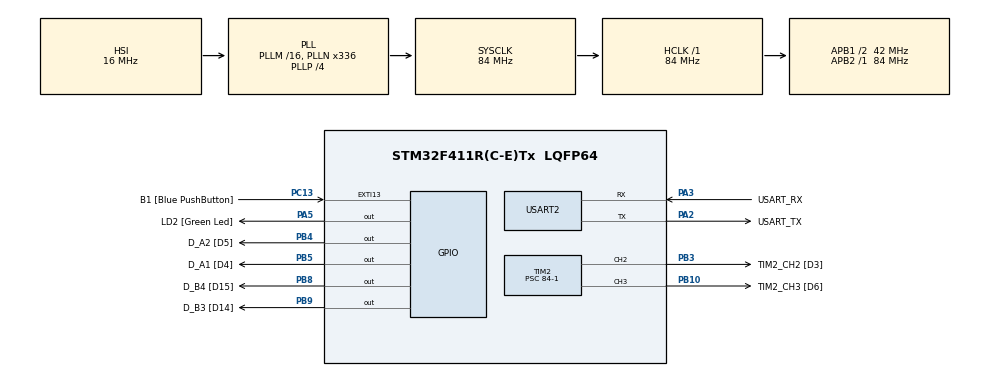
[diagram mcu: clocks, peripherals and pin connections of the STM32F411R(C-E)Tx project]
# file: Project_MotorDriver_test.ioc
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Mcu.Family=STM32F4
Mcu.Name=STM32F411R(C-E)Tx
Mcu.Package=LQFP64
NVIC.EXTI15_10_IRQn=true\:0\:0\:false\:false\:true\:true\:true\:true
NVIC.PriorityGroup=NVIC_PRIORITYGROUP_0
PA13.GPIO_Label=TMS
PA13.Mode=Serial_Wire
PA13.Signal=SYS_JTMS-SWDIO
PA14.GPIO_Label=TCK
PA14.Mode=Serial_Wire
PA14.Signal=SYS_JTCK-SWCLK
PA2.GPIO_Label=USART_TX
PA2.Mode=Asynchronous
PA2.Signal=USART2_TX
PA3.GPIO_Label=USART_RX
PA3.Mode=Asynchronous
PA3.Signal=USART2_RX
PA5.GPIO_Label=LD2 [Green Led]
PA5.Signal=GPIO_Output
PB10.GPIO_Label=TIM2_CH3 [D6]
PB10.Signal=S_TIM2_CH3
PB3.GPIO_Label=TIM2_CH2 [D3]
PB3.Signal=S_TIM2_CH2
PB4.GPIO_Label=D_A2 [D5]
PB4.Signal=GPIO_Output
PB5.GPIO_Label=D_A1 [D4]
PB5.Signal=GPIO_Output
PB8.GPIO_Label=D_B4 [D15]
PB8.Signal=GPIO_Output
PB9.GPIO_Label=D_B3 [D14]
PB9.Signal=GPIO_Output
PC13-ANTI_TAMP.GPIO_Label=B1 [Blue PushButton]
PC13-ANTI_TAMP.GPIO_ModeDefaultEXTI=GPIO_MODE_IT_FALLING
PC13-ANTI_TAMP.Signal=GPXTI13
PC14-OSC32_IN.Mode=LSE-External-Oscillator
PC14-OSC32_IN.Signal=RCC_OSC32_IN
PC15-OSC32_OUT.Mode=LSE-External-Oscillator
PC15-OSC32_OUT.Signal=RCC_OSC32_OUT
PH0\ -\ OSC_IN.Mode=HSE-External-Clock-Source
PH0\ -\ OSC_IN.Signal=RCC_OSC_IN
PH1\ -\ OSC_OUT.Mode=HSE-External-Clock-Source
PH1\ -\ OSC_OUT.Signal=RCC_OSC_OUT
ProjectManager.HeapSize=0x200
ProjectManager.StackSize=0x400
ProjectManager.TargetToolchain=STM32CubeIDE
RCC.48MHZClocksFreq_Value=84000000
RCC.AHBFreq_Value=84000000
RCC.APB1CLKDivider=RCC_HCLK_DIV2
RCC.APB1Freq_Value=42000000
RCC.APB1TimFreq_Value=84000000
RCC.APB2Freq_Value=84000000
RCC.APB2TimFreq_Value=84000000
RCC.CortexFreq_Value=84000000
RCC.FLatency-AdvancedSettings=FLASH_LATENCY_2
RCC.HCLKFreq_Value=84000000
RCC.HSE_VALUE=8000000
RCC.HSI_VALUE=16000000
RCC.PLLN=336
RCC.PLLP=RCC_PLLP_DIV4
RCC.SYSCLKFreq_VALUE=84000000
RCC.SYSCLKSource=RCC_SYSCLKSOURCE_PLLCLK
RCC.VCOOutputFreq_Value=336000000
SH.S_TIM2_CH2.0=TIM2_CH2,PWM Generation2 CH2
SH.S_TIM2_CH3.0=TIM2_CH3,PWM Generation3 CH3
TIM2.Channel-PWM\ Generation2\ CH2=TIM_CHANNEL_2
TIM2.Channel-PWM\ Generation3\ CH3=TIM_CHANNEL_3
TIM2.Period=1000-1
TIM2.Prescaler=84-1
USART2.VirtualMode=VM_ASYNC
VP_TIM2_VS_ClockSourceINT.Mode=Internal
board=NUCLEO-F411RE

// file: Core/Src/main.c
/* USER CODE BEGIN Header */
/**
  ******************************************************************************
  * @file           : main.c
  * @brief          : Main program body
  ******************************************************************************
  * @attention
  *
  * Copyright (c) 2025 STMicroelectronics.
  * All rights reserved.
  *
  * This software is licensed under terms that can be found in the LICENSE file
  * in the root directory of this software component.
  * If no LICENSE file comes with this software, it is provided AS-IS.
  *
  ******************************************************************************
  */
/* USER CODE END Header */
#include "main.h"

/* USER CODE BEGIN Includes */
#include <stdio.h>
/* USER CODE END Includes */

TIM_HandleTypeDef htim2;

UART_HandleTypeDef huart2;

void SystemClock_Config(void);
static void MX_GPIO_Init(void);
static void MX_USART2_UART_Init(void);
static void MX_TIM2_Init(void);

/* USER CODE BEGIN 0 */
int mode = 0;
int ccrL = 0, ccrR = 0;
int dutyL = 10, dutyR = 10;
void HAL_GPIO_EXTI_Callback(uint16_t GPIO_Pin)
{
	mode++;
	if(mode > 3)
		mode = 0;
}
void forward()
{
	HAL_GPIO_WritePin(D_A1_GPIO_Port, D_A1_Pin, 1);
	HAL_GPIO_WritePin(D_A2_GPIO_Port, D_A2_Pin, 0);

	HAL_GPIO_WritePin(D_B3_GPIO_Port, D_B3_Pin, 0);
	HAL_GPIO_WritePin(D_B4_GPIO_Port, D_B4_Pin, 1);

	dutyL = 35;
	dutyR = 35;
	ccrL = htim2.Instance->ARR * dutyL / 100;
	ccrR = htim2.Instance->ARR * dutyR / 100;
	htim2.Instance->CCR3 = ccrL;
	htim2.Instance->CCR2 = ccrR;
}
void left()
{
	HAL_GPIO_WritePin(D_A1_GPIO_Port, D_A1_Pin, 1);
	HAL_GPIO_WritePin(D_A2_GPIO_Port, D_A2_Pin, 0);

	HAL_GPIO_WritePin(D_B3_GPIO_Port, D_B3_Pin, 0);
	HAL_GPIO_WritePin(D_B4_GPIO_Port, D_B4_Pin, 1);

	dutyL = 25;
	dutyR = 40;
	ccrL = htim2.Instance->ARR * dutyL / 100;
	ccrR = htim2.Instance->ARR * dutyR / 100;
	htim2.Instance->CCR3 = ccrL;
	htim2.Instance->CCR2 = ccrR;
}
void right()
{
	HAL_GPIO_WritePin(D_A1_GPIO_Port, D_A1_Pin, 1);
	HAL_GPIO_WritePin(D_A2_GPIO_Port, D_A2_Pin, 0);

	HAL_GPIO_WritePin(D_B3_GPIO_Port, D_B3_Pin, 0);
	HAL_GPIO_WritePin(D_B4_GPIO_Port, D_B4_Pin, 1);

	dutyL = 40;
	dutyR = 25;
	ccrL = htim2.Instance->ARR * dutyL / 100;
	ccrR = htim2.Instance->ARR * dutyR / 100;
	htim2.Instance->CCR3 = ccrL;
	htim2.Instance->CCR2 = ccrR;
}
void reverse()
{
	HAL_GPIO_WritePin(D_A1_GPIO_Port, D_A1_Pin, 0);
	HAL_GPIO_WritePin(D_A2_GPIO_Port, D_A2_Pin, 1);

	HAL_GPIO_WritePin(D_B3_GPIO_Port, D_B3_Pin, 1);
	HAL_GPIO_WritePin(D_B4_GPIO_Port, D_B4_Pin, 0);

	dutyL = 25;
	dutyR = 25;
	ccrL = htim2.Instance->ARR * dutyL / 100;
	ccrR = htim2.Instance->ARR * dutyR / 100;
	htim2.Instance->CCR3 = ccrL;
	htim2.Instance->CCR2 = ccrR;
}
/* USER CODE END 0 */

int main(void)
{

  /* MCU Configuration--------------------------------------------------------*/

  /* Reset of all peripherals, Initializes the Flash interface and the Systick. */
  HAL_Init();

  /* Configure the system clock */
  SystemClock_Config();

  /* Initialize all configured peripherals */
  MX_GPIO_Init();
  MX_USART2_UART_Init();
  MX_TIM2_Init();
  /* USER CODE BEGIN 2 */
  ProgramStart("DC Motor & Motor Driver Test");

  HAL_GPIO_WritePin(D_A1_GPIO_Port, D_A1_Pin, 1);
  HAL_GPIO_WritePin(D_A2_GPIO_Port, D_A2_Pin, 0);

  HAL_GPIO_WritePin(D_B3_GPIO_Port, D_B3_Pin, 0);
  HAL_GPIO_WritePin(D_B4_GPIO_Port, D_B4_Pin, 1);

  HAL_TIM_PWM_Start(&htim2, TIM_CHANNEL_2);
  HAL_TIM_PWM_Start(&htim2, TIM_CHANNEL_3);
  /* USER CODE END 2 */

  /* Infinite loop */
  /* USER CODE BEGIN WHILE */

  while (1)
  {

	  if(mode == 0)
		  forward();
	  else if(mode == 1)
		  left();
	  else if(mode == 2)
		  right();
	  else if(mode == 3)
		  reverse();

//	  ccr1 += op;
//	  if(ccr1 > htim2.Instance->ARR || ccr1 < 0)
//	  {
//		  op *= -1;
//		  printf("Motor Direction changed  %d \r\n", op);
//	  }
//
//	  HAL_Delay(50);
    /* USER CODE END WHILE */

  }
}

void SystemClock_Config(void)
{
  RCC_OscInitTypeDef RCC_OscInitStruct = {0};
  RCC_ClkInitTypeDef RCC_ClkInitStruct = {0};

  /** Configure the main internal regulator output voltage
  */
  __HAL_RCC_PWR_CLK_ENABLE();
  __HAL_PWR_VOLTAGESCALING_CONFIG(PWR_REGULATOR_VOLTAGE_SCALE1);

  /** Initializes the RCC Oscillators according to the specified parameters
  * in the RCC_OscInitTypeDef structure.
  */
  RCC_OscInitStruct.OscillatorType = RCC_OSCILLATORTYPE_HSI;
  RCC_OscInitStruct.HSIState = RCC_HSI_ON;
  RCC_OscInitStruct.HSICalibrationValue = RCC_HSICALIBRATION_DEFAULT;
  RCC_OscInitStruct.PLL.PLLState = RCC_PLL_ON;
  RCC_OscInitStruct.PLL.PLLSource = RCC_PLLSOURCE_HSI;
  RCC_OscInitStruct.PLL.PLLM = 16;
  RCC_OscInitStruct.PLL.PLLN = 336;
  RCC_OscInitStruct.PLL.PLLP = RCC_PLLP_DIV4;
  RCC_OscInitStruct.PLL.PLLQ = 4;
  if (HAL_RCC_OscConfig(&RCC_OscInitStruct) != HAL_OK)
  {
    Error_Handler();
  }

  /** Initializes the CPU, AHB and APB buses clocks
  */
  RCC_ClkInitStruct.ClockType = RCC_CLOCKTYPE_HCLK|RCC_CLOCKTYPE_SYSCLK
                              |RCC_CLOCKTYPE_PCLK1|RCC_CLOCKTYPE_PCLK2;
  RCC_ClkInitStruct.SYSCLKSource = RCC_SYSCLKSOURCE_PLLCLK;
  RCC_ClkInitStruct.AHBCLKDivider = RCC_SYSCLK_DIV1;
  RCC_ClkInitStruct.APB1CLKDivider = RCC_HCLK_DIV2;
  RCC_ClkInitStruct.APB2CLKDivider = RCC_HCLK_DIV1;

  if (HAL_RCC_ClockConfig(&RCC_ClkInitStruct, FLASH_LATENCY_2) != HAL_OK)
  {
    Error_Handler();
  }
}

static void MX_TIM2_Init(void)
{

  TIM_ClockConfigTypeDef sClockSourceConfig = {0};
  TIM_MasterConfigTypeDef sMasterConfig = {0};
  TIM_OC_InitTypeDef sConfigOC = {0};

  htim2.Instance = TIM2;
  htim2.Init.Prescaler = 84-1;
  htim2.Init.CounterMode = TIM_COUNTERMODE_UP;
  htim2.Init.Period = 1000-1;
  htim2.Init.ClockDivision = TIM_CLOCKDIVISION_DIV1;
  htim2.Init.AutoReloadPreload = TIM_AUTORELOAD_PRELOAD_DISABLE;
  if (HAL_TIM_Base_Init(&htim2) != HAL_OK)
  {
    Error_Handler();
  }
  sClockSourceConfig.ClockSource = TIM_CLOCKSOURCE_INTERNAL;
  if (HAL_TIM_ConfigClockSource(&htim2, &sClockSourceConfig) != HAL_OK)
  {
    Error_Handler();
  }
  if (HAL_TIM_PWM_Init(&htim2) != HAL_OK)
  {
    Error_Handler();
  }
  sMasterConfig.MasterOutputTrigger = TIM_TRGO_RESET;
  sMasterConfig.MasterSlaveMode = TIM_MASTERSLAVEMODE_DISABLE;
  if (HAL_TIMEx_MasterConfigSynchronization(&htim2, &sMasterConfig) != HAL_OK)
  {
    Error_Handler();
  }
  sConfigOC.OCMode = TIM_OCMODE_PWM1;
  sConfigOC.Pulse = 0;
  sConfigOC.OCPolarity = TIM_OCPOLARITY_HIGH;
  sConfigOC.OCFastMode = TIM_OCFAST_DISABLE;
  if (HAL_TIM_PWM_ConfigChannel(&htim2, &sConfigOC, TIM_CHANNEL_2) != HAL_OK)
  {
    Error_Handler();
  }
  if (HAL_TIM_PWM_ConfigChannel(&htim2, &sConfigOC, TIM_CHANNEL_3) != HAL_OK)
  {
    Error_Handler();
  }
  HAL_TIM_MspPostInit(&htim2);

}

static void MX_USART2_UART_Init(void)
{

  huart2.Instance = USART2;
  huart2.Init.BaudRate = 115200;
  huart2.Init.WordLength = UART_WORDLENGTH_8B;
  huart2.Init.StopBits = UART_STOPBITS_1;
  huart2.Init.Parity = UART_PARITY_NONE;
  huart2.Init.Mode = UART_MODE_TX_RX;
  huart2.Init.HwFlowCtl = UART_HWCONTROL_NONE;
  huart2.Init.OverSampling = UART_OVERSAMPLING_16;
  if (HAL_UART_Init(&huart2) != HAL_OK)
  {
    Error_Handler();
  }

}

static void MX_GPIO_Init(void)
{
  GPIO_InitTypeDef GPIO_InitStruct = {0};

  /* GPIO Ports Clock Enable */
  __HAL_RCC_GPIOC_CLK_ENABLE();
  __HAL_RCC_GPIOH_CLK_ENABLE();
  __HAL_RCC_GPIOA_CLK_ENABLE();
  __HAL_RCC_GPIOB_CLK_ENABLE();

  /*Configure GPIO pin Output Level */
  HAL_GPIO_WritePin(LD2_GPIO_Port, LD2_Pin, GPIO_PIN_RESET);

  /*Configure GPIO pin Output Level */
  HAL_GPIO_WritePin(GPIOB, D_A2_Pin|D_A1_Pin|D_B4_Pin|D_B3_Pin, GPIO_PIN_RESET);

  /*Configure GPIO pin : B1_Pin */
  GPIO_InitStruct.Pin = B1_Pin;
  GPIO_InitStruct.Mode = GPIO_MODE_IT_FALLING;
  GPIO_InitStruct.Pull = GPIO_NOPULL;
  HAL_GPIO_Init(B1_GPIO_Port, &GPIO_InitStruct);

  /*Configure GPIO pin : LD2_Pin */
  GPIO_InitStruct.Pin = LD2_Pin;
  GPIO_InitStruct.Mode = GPIO_MODE_OUTPUT_PP;
  GPIO_InitStruct.Pull = GPIO_NOPULL;
  GPIO_InitStruct.Speed = GPIO_SPEED_FREQ_LOW;
  HAL_GPIO_Init(LD2_GPIO_Port, &GPIO_InitStruct);

  /*Configure GPIO pins : D_A2_Pin D_A1_Pin D_B4_Pin D_B3_Pin */
  GPIO_InitStruct.Pin = D_A2_Pin|D_A1_Pin|D_B4_Pin|D_B3_Pin;
  GPIO_InitStruct.Mode = GPIO_MODE_OUTPUT_PP;
  GPIO_InitStruct.Pull = GPIO_NOPULL;
  GPIO_InitStruct.Speed = GPIO_SPEED_FREQ_LOW;
  HAL_GPIO_Init(GPIOB, &GPIO_InitStruct);

  /* EXTI interrupt init*/
  HAL_NVIC_SetPriority(EXTI15_10_IRQn, 0, 0);
  HAL_NVIC_EnableIRQ(EXTI15_10_IRQn);

}

void Error_Handler(void)
{
  __disable_irq();
  while (1)
  {
  }
}
